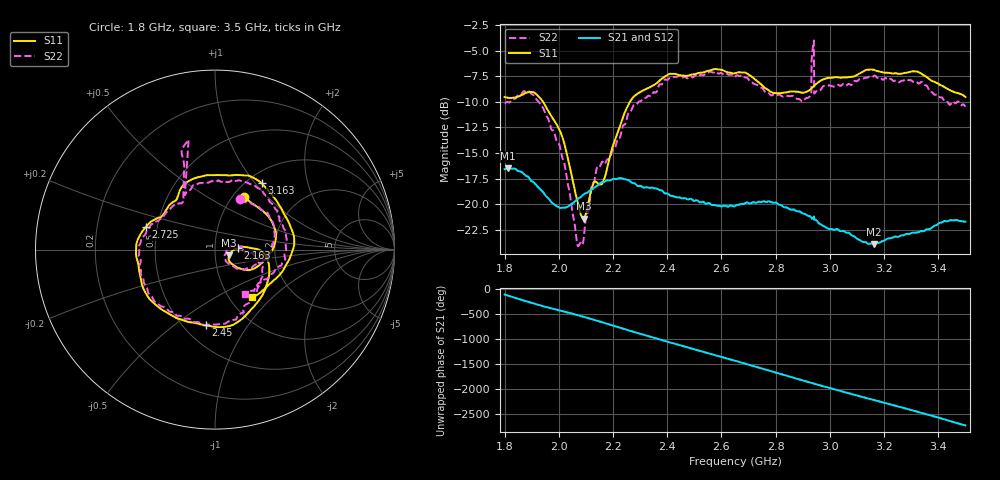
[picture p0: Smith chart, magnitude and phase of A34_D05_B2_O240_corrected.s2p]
! Created with skrf 1.9.0 (http://scikit-rf.org).
# Hz S RI R 50.0
!freq ReS11 ImS11 ReS21 ImS21 ReS12 ImS12 ReS22 ImS22
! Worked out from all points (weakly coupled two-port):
!   1601 points, 1.8 GHz to 3.5 GHz, reference 50 ohm
!   highest |S21| = -16.48 dB at 1.812 GHz (marker M1); lowest = -23.8 dB at 3.163 GHz (marker M2)
!   lowest |S11| = -21.4 dB at 2.091 GHz (marker M3), VSWR 1.19, Z = 58.5 - j3.73 ohm
!   |S11| at or under -10 dB: 1.942 GHz to 2.262 GHz (320.6 MHz wide, 15.3 % of centre)
!   |S22| runs from -24.1 to -4.0 dB; largest |S21 - S12| = 0.0026
!   S11 on the Smith chart (normalised r, x): 1.8 GHz: 1.13, +0.74; 2.163 GHz: 1.29, +0.03; 2.45 GHz: 0.64, -0.66; 2.725 GHz: 0.43, +0.13; 3.163 GHz: 1.16, +1.08; 3.5 GHz: 1.27, -0.75
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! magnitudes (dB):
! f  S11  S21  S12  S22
! 1.8 GHz  -9.5  -16.6  -16.6  -10.1
! 1.812 GHz  -9.6  -16.5  -16.5  -10.0
! 1.886 GHz  -9.1  -17.3  -17.3  -9.0
! 1.941 GHz  -10.0  -18.8  -18.8  -10.6
! 2.013 GHz  -13.4  -20.3  -20.3  -15.4
! 2.067 GHz  -19.5  -19.5  -19.5  -23.7
! 2.084 GHz  -21.1  -19.2  -19.2  -23.9
! 2.091 GHz  -21.4  -19.0  -19.1  -23.5
! 2.127 GHz  -18.0  -18.4  -18.4  -17.9
! 2.163 GHz  -17.8  -17.8  -17.8  -15.9
! 2.259 GHz  -10.2  -17.6  -17.7  -11.0
! 2.367 GHz  -8.0  -18.5  -18.5  -8.5
! 2.45 GHz  -7.4  -19.4  -19.4  -7.6
! 2.65 GHz  -7.2  -20.2  -20.1  -7.5
! 2.725 GHz  -7.8  -19.8  -19.8  -8.3
! 2.9 GHz  -9.1  -20.9  -20.9  -10.0
! 2.923 GHz  -8.9  -21.1  -21.1  -9.5
! 2.934 GHz  -8.7  -21.4  -21.4  -5.6
! 2.951 GHz  -8.2  -21.5  -21.6  -8.9
! 3.163 GHz  -6.9  -23.8  -23.8  -7.5
! 3.217 GHz  -7.2  -23.3  -23.3  -7.8
! 3.5 GHz  -9.5  -21.7  -21.7  -10.5
